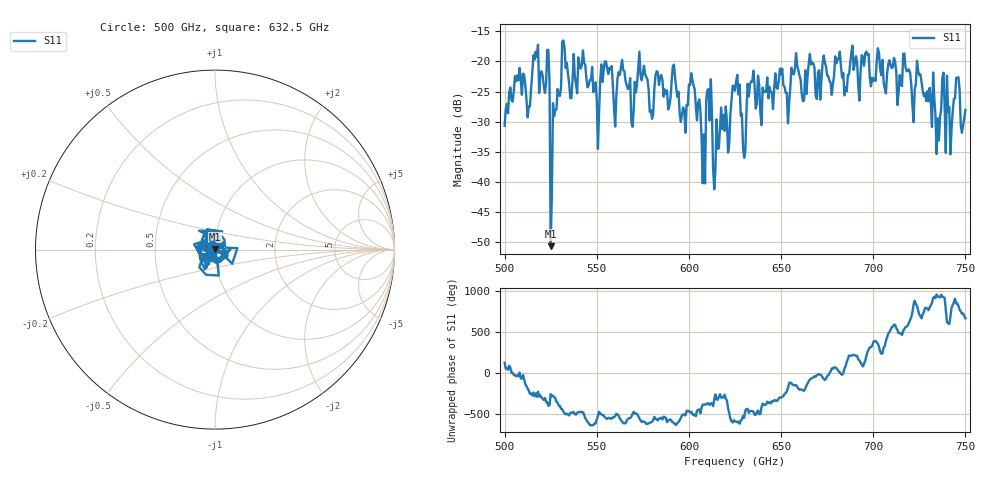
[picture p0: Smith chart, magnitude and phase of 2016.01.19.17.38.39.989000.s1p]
!Created with skrf (http://scikit-rf.org).
# GHz S RI R 50.0
!freq ReS11 ImS11
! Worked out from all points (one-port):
!   401 points, 500 GHz to 750 GHz, reference 50 ohm
!   lowest |S11| = -50.6 dB at 525 GHz (marker M1), VSWR 1.01, Z = 49.9 + j0.286 ohm
!   |S11| at or under -10 dB: start of sweep to end of sweep
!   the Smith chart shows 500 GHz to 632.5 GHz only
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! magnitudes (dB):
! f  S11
! 500 GHz  -30.7
! 506.9 GHz  -22.3
! 513.1 GHz  -27.4
! 516.9 GHz  -18.4
! 523.1 GHz  -18.1
! 525 GHz  -50.6
! 526.2 GHz  -26.9
! 531.2 GHz  -16.7
! 550 GHz  -26.4
! 562.5 GHz  -22.2
! 570 GHz  -28.3
! 573.8 GHz  -22.3
! 579.4 GHz  -28.1
! 583.1 GHz  -21.8
! 593.8 GHz  -25.9
! 601.9 GHz  -23.1
! 607.5 GHz  -40.2
! 610.6 GHz  -24.6
! 614.4 GHz  -37.9
! 625 GHz  -24.9
! 629.4 GHz  -34.4
! 634.4 GHz  -23.4
! 656.2 GHz  -21.7
! 687.5 GHz  -20.3
! 718.8 GHz  -21.6
! 735 GHz  -29.4
! 745.6 GHz  -22.7
! 750 GHz  -28.0
